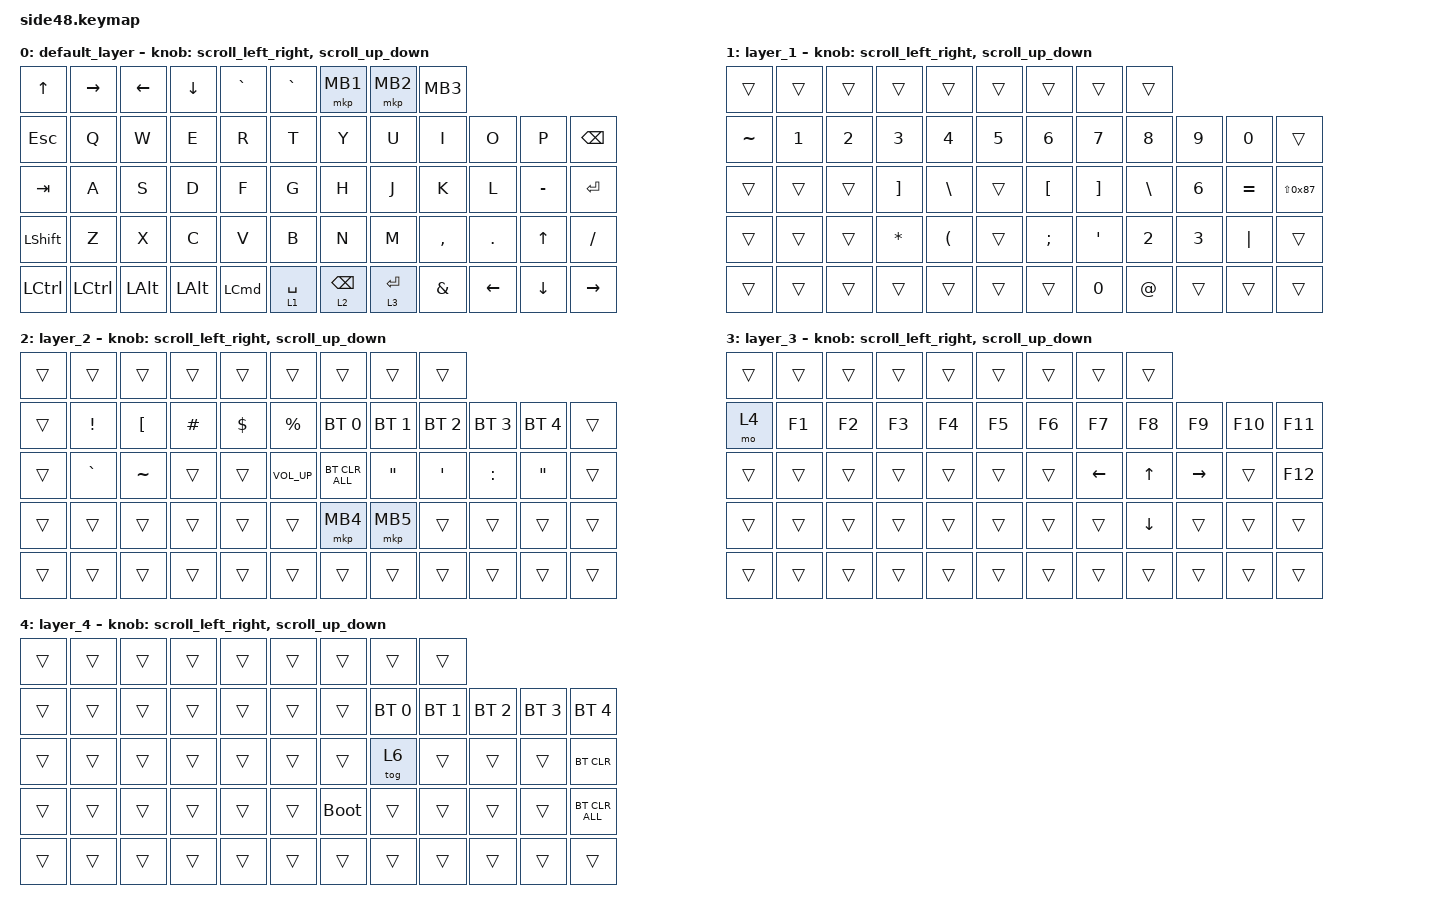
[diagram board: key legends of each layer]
#include <input/processors.dtsi>
#include <dt-bindings/zmk/input_transform.h>
#include <zephyr/dt-bindings/input/input-event-codes.h>
#include <behaviors.dtsi>
#include <dt-bindings/zmk/bt.h>
#include <dt-bindings/zmk/keys.h>
#include <dt-bindings/zmk/pointing.h>

// Conversion definition for using Japanese keyboard with OS settings

#define JP_DQUOTE       AT                // "
#define JP_AMPERSAND    CARET             // &
#define JP_QUOTE        AMPERSAND         // '
#define JP_EQUAL        UNDER             // =
#define JP_CARET        EQUAL             // ^
#define JP_YEN          0x89              // ¥
#define JP_PLUS         COLON             // +
#define JP_TILDE        PLUS              // ~
#define JP_PIPE         LS(0x89)          // |
#define JP_AT           LEFT_BRACKET      // @
#define JP_COLON        SINGLE_QUOTE      // :
#define JP_ASTERISK     DOUBLE_QUOTES     // *
#define JP_BACKQUOTE    LEFT_BRACE        // `
#define JP_UNDERSCORE   LS(0x87)          // _
#define JP_LBRACKET     RIGHT_BRACKET     // [
#define JP_RBRACKET     BACKSLASH         // ]
#define JP_LPAREN       ASTERISK          // (
#define JP_RPAREN       LEFT_PARENTHESIS  // )
#define JP_LBRACE       RIGHT_BRACE       // {
#define JP_RBRACE       PIPE              // }
#define JP_KANA         LANGUAGE_1        // かな
#define JP_EISU         LANGUAGE_2        // 英数
#define JP_HANZEN       GRAVE             // 半角/全角
#define ZMK_POINTING_DEFAULT_SCRL_VAL 100
#define MOUSE 0
#define ZMK_MOUSE_DEFAULT_SCRL_VAL 100

&mt {
    flavor = "balanced";
    quick-tap-ms = <0>;
};

/ {
    behaviors {
        lt_mkp: lt_mkp {
            compatible = "zmk,behavior-hold-tap";
            label = "LT_MKP";
            bindings = <&mo>, <&mkp>;

            #binding-cells = <2>;
            tapping-term-ms = <200>;
        };

        scroll_up_down: behavior_sensor_rotate_mouse_wheel_up_down {
            compatible = "zmk,behavior-sensor-rotate";
            #sensor-binding-cells = <0>;
            bindings = <&msc SCRL_UP>, <&msc SCRL_DOWN>;

            //bindings = <&msc SCRL_DOWN>, <&msc SCRL_UP>;
            // 追加: スクロールのタップ時間を設定 (20ms)

            tap-ms = <20>;
        };

        scroll_left_right: behavior_sensor_rotate_mouse_wheel_left_right {
            compatible = "zmk,behavior-sensor-rotate";
            #sensor-binding-cells = <0>;
            bindings = <&msc SCRL_LEFT>, <&msc SCRL_RIGHT>;

            //bindings = <&msc SCRL_RIGHT>, <&msc SCRL_LEFT>;
            // 追加: スクロールのタップ時間を設定 (20ms)

            tap-ms = <20>;
        };
    };

    combos {
        compatible = "zmk,combos";

        eisuu {
            bindings = <&kp LANGUAGE_2>;
            key-positions = <25 24>;
        };

        kana {
            bindings = <&kp LANGUAGE_1>;
            key-positions = <28 29>;
        };
    };

    keymap {
        compatible = "zmk,keymap";

        default_layer {
            bindings = <
&kp UP            &kp RIGHT  &kp LEFT      &kp DOWN  &kp GRAVE         &kp GRAVE      &mkp MB1    &mkp MB2     &kp MB3
&kp ESCAPE        &kp Q      &kp W         &kp E     &kp R             &kp T          &kp Y       &kp U        &kp I         &kp O     &kp P      &kp BACKSPACE
&kp TAB           &kp A      &kp S         &kp D     &kp F             &kp G          &kp H       &kp J        &kp K         &kp L     &kp MINUS  &kp ENTER
&kp LSHFT         &kp Z      &kp X         &kp C     &kp V             &kp B          &kp N       &kp M        &kp COMMA     &kp DOT   &kp UP     &kp SLASH
&kp LEFT_CONTROL  &kp LCTRL  &kp LEFT_ALT  &kp LALT  &kp LEFT_COMMAND  &lt 1 SPACE    &lt 2 BSPC  &lt 3 ENTER  &kp JP_QUOTE  &kp LEFT  &kp DOWN   &kp RIGHT
            >;

            sensor-bindings = <&scroll_left_right &scroll_up_down>;
        };

        layer_1 {
            bindings = <
&trans     &trans        &trans        &trans           &trans           &trans          &trans            &trans             &trans
&kp TILDE  &kp NUMBER_1  &kp NUMBER_2  &kp NUMBER_3     &kp NUMBER_4     &kp NUMBER_5    &kp NUMBER_6      &kp NUMBER_7       &kp NUMBER_8   &kp NUMBER_9  &kp NUMBER_0  &trans
&trans     &trans        &trans        &kp JP_LBRACKET  &kp JP_RBRACKET  &trans          &kp LEFT_BRACKET  &kp RIGHT_BRACKET  &kp BACKSLASH  &kp NUMBER_6  &kp EQUAL     &kp JP_UNDERSCORE
&trans     &trans        &trans        &kp JP_LPAREN    &kp JP_RPAREN    &trans          &kp SEMI          &kp SINGLE_QUOTE   &kp NUMBER_2   &kp NUMBER_3  &kp PIPE      &trans
&trans     &trans        &trans        &trans           &trans           &trans          &trans            &kp NUMBER_0       &kp JP_DQUOTE  &trans        &trans        &trans
            >;

            sensor-bindings = <&scroll_left_right &scroll_up_down>;
        };

        layer_2 {
            bindings = <
&trans  &trans           &trans     &trans     &trans      &trans          &trans          &trans             &trans
&trans  &kp EXCLAMATION  &kp JP_AT  &kp POUND  &kp DOLLAR  &kp PERCENT     &bt BT_SEL 0    &bt BT_SEL 1       &bt BT_SEL 2      &bt BT_SEL 3  &bt BT_SEL 4     &trans
&trans  &kp GRAVE        &kp TILDE  &trans     &trans      &kp C_VOL_UP    &bt BT_CLR_ALL  &kp DOUBLE_QUOTES  &kp SINGLE_QUOTE  &kp JP_PLUS   &kp JP_ASTERISK  &trans
&trans  &trans           &trans     &trans     &trans      &trans          &mkp MB4        &mkp MB5           &trans            &trans        &trans           &trans
&trans  &trans           &trans     &trans     &trans      &trans          &trans          &trans             &trans            &trans        &trans           &trans
            >;

            sensor-bindings = <&scroll_left_right &scroll_up_down>;
        };

        layer_3 {
            bindings = <
&trans  &trans  &trans  &trans  &trans  &trans    &trans  &trans    &trans
&mo 4   &kp F1  &kp F2  &kp F3  &kp F4  &kp F5    &kp F6  &kp F7    &kp F8    &kp F9     &kp F10  &kp F11
&trans  &trans  &trans  &trans  &trans  &trans    &trans  &kp LEFT  &kp UP    &kp RIGHT  &trans   &kp F12
&trans  &trans  &trans  &trans  &trans  &trans    &trans  &trans    &kp DOWN  &trans     &trans   &trans
&trans  &trans  &trans  &trans  &trans  &trans    &trans  &trans    &trans    &trans     &trans   &trans
            >;

            sensor-bindings = <&scroll_left_right &scroll_up_down>;
        };

        layer_4 {
            bindings = <
&trans  &trans  &trans  &trans  &trans  &trans    &trans       &trans        &trans
&trans  &trans  &trans  &trans  &trans  &trans    &trans       &bt BT_SEL 0  &bt BT_SEL 1  &bt BT_SEL 2  &bt BT_SEL 3  &bt BT_SEL 4
&trans  &trans  &trans  &trans  &trans  &trans    &trans       &tog 6        &trans        &trans        &trans        &bt BT_CLR
&trans  &trans  &trans  &trans  &trans  &trans    &bootloader  &trans        &trans        &trans        &trans        &bt BT_CLR_ALL
&trans  &trans  &trans  &trans  &trans  &trans    &trans       &trans        &trans        &trans        &trans        &trans
            >;

            sensor-bindings = <&scroll_left_right &scroll_up_down>;
        };
    };
};
